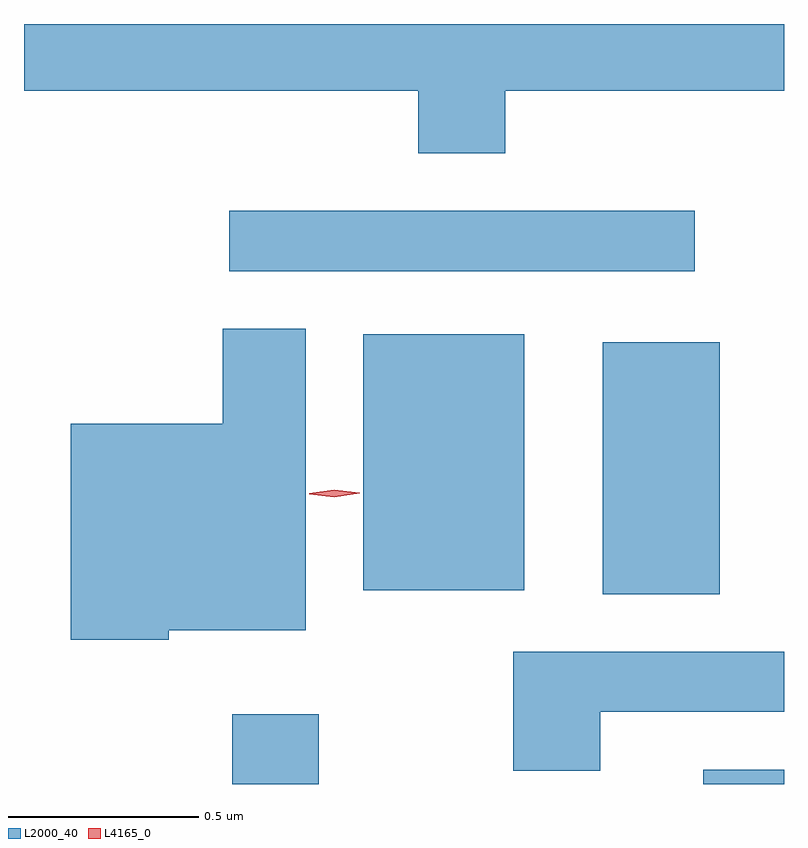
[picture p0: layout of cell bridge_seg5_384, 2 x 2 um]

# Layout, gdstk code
import gdstk
lib = gdstk.Library(unit=1e-6, precision=1e-09)
def R(c, l, rs):  # rectangles x0, y0, x1, y1
    for r in rs: c.add(gdstk.rectangle(r[:2], r[2:], *l))
def P(c, l, *ps):  # polygons
    for p in ps: c.add(gdstk.Polygon(p, *l))
L2000_40 = (2000, 40)
L4165_0 = (4165, 0)

bridge_seg5_384 = lib.new_cell('bridge_seg5_384')
R(bridge_seg5_384, L2000_40, [(818.791,1408.351,819.019,1408.534), (820.031,1408.351,820.243,1408.389), (819.766,1408.851,820.074,1409.514), (819.136,1408.861,819.559,1409.534), (818.783,1409.701,820.008,1409.859)])
P(bridge_seg5_384, L2000_40, [(819.509,1410.176),(820.243,1410.176),(820.243,1410.351),(818.243,1410.351),(818.243,1410.176),(819.281,1410.176),(819.281,1410.011),(819.509,1410.011)],
  [(818.624,1408.756),(818.984,1408.756),(818.984,1409.549),(818.766,1409.549),(818.766,1409.299),(818.366,1409.299),(818.366,1408.731),(818.624,1408.731)],
  [(819.759,1408.541),(820.243,1408.541),(820.243,1408.699),(819.531,1408.699),(819.531,1408.386),(819.759,1408.386)])
P(bridge_seg5_384, L4165_0, [(819.06,1409.106),(818.994,1409.114),(818.994,1409.115),(818.994,1409.116),(819.06,1409.126),(819.126,1409.117),(819.126,1409.116),(819.126,1409.116)])

lib.write_gds('bridge_seg5_384.gds')
